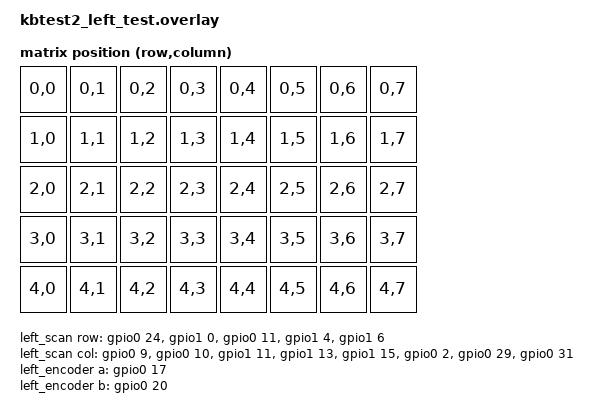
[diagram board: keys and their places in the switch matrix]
#include <dt-bindings/gpio/gpio.h>
#include <dt-bindings/zmk/matrix_transform.h>

&uicr {
    nfct-pins-as-gpios;
};

/ {
    chosen {
        zmk,kscan = &left_scan;
        zmk,physical-layout = &left_layout;
    };

    left_layout: physical_layout {
        compatible = "zmk,physical-layout";
        display-name = "Left matrix test";
        transform = <&left_transform>;
        kscan = <&left_scan>;
    };

    left_transform: matrix_transform {
        compatible = "zmk,matrix-transform";
        rows = <5>;
        columns = <8>;
        map = <
            RC(0,0) RC(0,1) RC(0,2) RC(0,3) RC(0,4) RC(0,5) RC(0,6) RC(0,7)
            RC(1,0) RC(1,1) RC(1,2) RC(1,3) RC(1,4) RC(1,5) RC(1,6) RC(1,7)
            RC(2,0) RC(2,1) RC(2,2) RC(2,3) RC(2,4) RC(2,5) RC(2,6) RC(2,7)
            RC(3,0) RC(3,1) RC(3,2) RC(3,3) RC(3,4) RC(3,5) RC(3,6) RC(3,7)
            RC(4,0) RC(4,1) RC(4,2) RC(4,3) RC(4,4) RC(4,5) RC(4,6) RC(4,7)
        >;
    };

    left_scan: kscan {
        compatible = "zmk,kscan-gpio-matrix";
        wakeup-source;
        diode-direction = "col2row";
        // Matrix indices start at the top row and at column 1.
        row-gpios = <&gpio0 24 (GPIO_ACTIVE_HIGH | GPIO_PULL_DOWN)>,
                    <&gpio1 0 (GPIO_ACTIVE_HIGH | GPIO_PULL_DOWN)>,
                    <&gpio0 11 (GPIO_ACTIVE_HIGH | GPIO_PULL_DOWN)>,
                    <&gpio1 4 (GPIO_ACTIVE_HIGH | GPIO_PULL_DOWN)>,
                    <&gpio1 6 (GPIO_ACTIVE_HIGH | GPIO_PULL_DOWN)>;
        col-gpios = <&gpio0 9 (GPIO_ACTIVE_HIGH)>,
                    <&gpio0 10 (GPIO_ACTIVE_HIGH)>,
                    <&gpio1 11 (GPIO_ACTIVE_HIGH)>,
                    <&gpio1 13 (GPIO_ACTIVE_HIGH)>,
                    <&gpio1 15 (GPIO_ACTIVE_HIGH)>,
                    <&gpio0 2 (GPIO_ACTIVE_HIGH)>,
                    <&gpio0 29 (GPIO_ACTIVE_HIGH)>,
                    <&gpio0 31 (GPIO_ACTIVE_HIGH)>;
    };

    left_encoder: encoder {
        compatible = "alps,ec11";
        a-gpios = <&gpio0 17 (GPIO_ACTIVE_HIGH | GPIO_PULL_UP)>;
        b-gpios = <&gpio0 20 (GPIO_ACTIVE_HIGH | GPIO_PULL_UP)>;
        steps = <80>;
    };

    sensors {
        compatible = "zmk,keymap-sensors";
        sensors = <&left_encoder>;
        triggers-per-rotation = <20>;
    };
};
